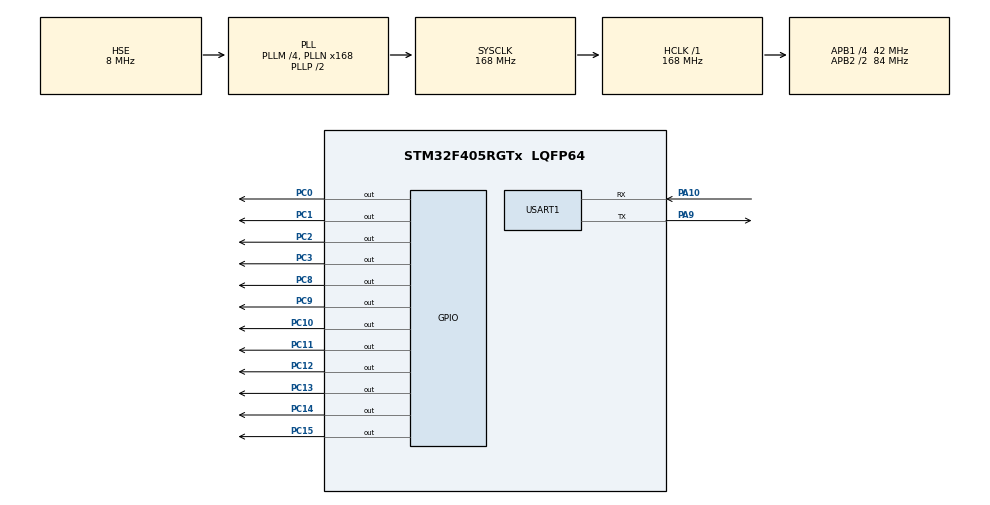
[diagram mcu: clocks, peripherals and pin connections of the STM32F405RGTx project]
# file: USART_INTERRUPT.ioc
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Mcu.Family=STM32F4
Mcu.Name=STM32F405RGTx
Mcu.Package=LQFP64
NVIC.PriorityGroup=NVIC_PRIORITYGROUP_4
NVIC.USART1_IRQn=true\:0\:0\:false\:false\:true\:true\:true
PA10.Mode=Asynchronous
PA10.Signal=USART1_RX
PA13.Mode=Serial_Wire
PA13.Signal=SYS_JTMS-SWDIO
PA14.Mode=Serial_Wire
PA14.Signal=SYS_JTCK-SWCLK
PA9.Mode=Asynchronous
PA9.Signal=USART1_TX
PC0.Signal=GPIO_Output
PC1.Signal=GPIO_Output
PC10.Signal=GPIO_Output
PC11.Signal=GPIO_Output
PC12.Signal=GPIO_Output
PC13-ANTI_TAMP.Signal=GPIO_Output
PC14-OSC32_IN.Signal=GPIO_Output
PC15-OSC32_OUT.Signal=GPIO_Output
PC2.Signal=GPIO_Output
PC3.Signal=GPIO_Output
PC8.Signal=GPIO_Output
PC9.Signal=GPIO_Output
PH0-OSC_IN.Mode=HSE-External-Oscillator
PH0-OSC_IN.Signal=RCC_OSC_IN
PH1-OSC_OUT.Mode=HSE-External-Oscillator
PH1-OSC_OUT.Signal=RCC_OSC_OUT
ProjectManager.HeapSize=0x200
ProjectManager.StackSize=0x400
ProjectManager.TargetToolchain=EWARM V8.32
RCC.48MHZClocksFreq_Value=84000000
RCC.AHBFreq_Value=168000000
RCC.APB1CLKDivider=RCC_HCLK_DIV4
RCC.APB1Freq_Value=42000000
RCC.APB1TimFreq_Value=84000000
RCC.APB2CLKDivider=RCC_HCLK_DIV2
RCC.APB2Freq_Value=84000000
RCC.APB2TimFreq_Value=168000000
RCC.CortexFreq_Value=168000000
RCC.HCLKFreq_Value=168000000
RCC.HSE_VALUE=8000000
RCC.HSI_VALUE=16000000
RCC.LSE_VALUE=32768
RCC.PLLM=4
RCC.PLLN=168
RCC.PLLSourceVirtual=RCC_PLLSOURCE_HSE
RCC.SYSCLKFreq_VALUE=168000000
RCC.SYSCLKSource=RCC_SYSCLKSOURCE_PLLCLK
RCC.VCOOutputFreq_Value=336000000
USART1.VirtualMode=VM_ASYNC
board=custom

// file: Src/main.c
/* USER CODE BEGIN Header */
/**
******************************************************************************
* @file           : main.c
* @brief          : Main program body
******************************************************************************
* @attention
*
* <h2><center>&copy; Copyright (c) 2020 STMicroelectronics.
* All rights reserved.</center></h2>
*
* This software component is licensed by ST under BSD 3-Clause license,
* the "License"; You may not use this file except in compliance with the
* License. You may obtain a copy of the License at:
*                        opensource.org/licenses/BSD-3-Clause
*
******************************************************************************
*/
/* USER CODE END Header */

#include "main.h"
#include "usart.h"
#include "gpio.h"

/* USER CODE BEGIN Includes */
#include "stdio.h"
/* USER CODE END Includes */

/* USER CODE BEGIN PV */
uint8_t newrxData=0;
uint8_t oldrxData=0;

/* USER CODE END PV */

void SystemClock_Config(void);
/* USER CODE BEGIN PFP */

void LED(uint16_t *led)
{
  printf("\tLED fun\n");
  for(int i=0;i<4;i++)
  {
    HAL_GPIO_WritePin(GPIOC,led[i],GPIO_PIN_SET);
  }
  HAL_Delay(500);
  for(int i=0;i<4;i++)
  {
    HAL_GPIO_WritePin(GPIOC,led[i],GPIO_PIN_RESET);
  }
  HAL_Delay(500);

}

void FND(uint16_t *FND_DATA_TBL)
{
  printf("\tFND fun\n");
  for(int i=0;i<10;i++)
  {
    if(newrxData=='2')
    {
      HAL_GPIO_WritePin(GPIOC,FND_DATA_TBL[i],GPIO_PIN_SET);
      HAL_Delay(500);
      HAL_GPIO_WritePin(GPIOC,FND_DATA_TBL[i],GPIO_PIN_RESET);
    }

  }

}

int fputc(int ch, FILE *stream)
{
  HAL_UART_Transmit(&huart1,(uint8_t*)&ch,1,10);
  return ch;
}
/* USER CODE END PFP */

int main(void)
{

  /* MCU Configuration--------------------------------------------------------*/

  /* Reset of all peripherals, Initializes the Flash interface and the Systick. */
  HAL_Init();

  /* Configure the system clock */
  SystemClock_Config();

  /* Initialize all configured peripherals */
  MX_GPIO_Init();
  MX_USART1_UART_Init();
  /* USER CODE BEGIN 2 */
  HAL_UART_Receive_IT(&huart1,&newrxData,1);
  /* USER CODE END 2 */

  /* Infinite loop */
  /* USER CODE BEGIN WHILE */
  uint16_t led[]={GPIO_PIN_0,GPIO_PIN_1,GPIO_PIN_2,GPIO_PIN_3};
  uint16_t FND_DATA_TBL[]={0x3F00,0x0600,0x5B00,0x4F00,0x6600,0x6D00,0x7C00,0x0700,0x7F00,0x6700,0x7700,0x7C00,0x3900,0x5E00,0x7900,0x7100,0x0800,0x8000};
  while (1)
  {

    printf("old : %c, new : %c \n",oldrxData,newrxData);

    if(newrxData=='1' & (oldrxData!=newrxData))
    {
      printf("\tLED fun\n");
      for(int i=0;i<4;i++)
      {
        HAL_GPIO_WritePin(GPIOC,led[i],GPIO_PIN_SET);
      }
      HAL_Delay(500);
      for(int i=0;i<4;i++)
      {
        HAL_GPIO_WritePin(GPIOC,led[i],GPIO_PIN_RESET);
      }
      HAL_Delay(500);
    }
    else if(newrxData=='2' & (oldrxData!=newrxData))
    {
      printf("\tFND fun\n");
      for(int i=0;i<10;i++)
      {
        if(newrxData=='2')
        {
          HAL_GPIO_WritePin(GPIOC,FND_DATA_TBL[i],GPIO_PIN_SET);
          HAL_Delay(500);
          HAL_GPIO_WritePin(GPIOC,FND_DATA_TBL[i],GPIO_PIN_RESET);
        }

      }
    }
    else if(newrxData=='3' && (oldrxData!=newrxData))
    {
      printf("OFF\n");
    }

    //HAL_Delay(1);

    /* USER CODE END WHILE */

  }
}

void SystemClock_Config(void)
{
  RCC_OscInitTypeDef RCC_OscInitStruct = {0};
  RCC_ClkInitTypeDef RCC_ClkInitStruct = {0};

  /** Configure the main internal regulator output voltage
  */
  __HAL_RCC_PWR_CLK_ENABLE();
  __HAL_PWR_VOLTAGESCALING_CONFIG(PWR_REGULATOR_VOLTAGE_SCALE1);
  /** Initializes the CPU, AHB and APB busses clocks
  */
  RCC_OscInitStruct.OscillatorType = RCC_OSCILLATORTYPE_HSE;
  RCC_OscInitStruct.HSEState = RCC_HSE_ON;
  RCC_OscInitStruct.PLL.PLLState = RCC_PLL_ON;
  RCC_OscInitStruct.PLL.PLLSource = RCC_PLLSOURCE_HSE;
  RCC_OscInitStruct.PLL.PLLM = 4;
  RCC_OscInitStruct.PLL.PLLN = 168;
  RCC_OscInitStruct.PLL.PLLP = RCC_PLLP_DIV2;
  RCC_OscInitStruct.PLL.PLLQ = 4;
  if (HAL_RCC_OscConfig(&RCC_OscInitStruct) != HAL_OK)
  {
    Error_Handler();
  }
  /** Initializes the CPU, AHB and APB busses clocks
  */
  RCC_ClkInitStruct.ClockType = RCC_CLOCKTYPE_HCLK|RCC_CLOCKTYPE_SYSCLK
    |RCC_CLOCKTYPE_PCLK1|RCC_CLOCKTYPE_PCLK2;
  RCC_ClkInitStruct.SYSCLKSource = RCC_SYSCLKSOURCE_PLLCLK;
  RCC_ClkInitStruct.AHBCLKDivider = RCC_SYSCLK_DIV1;
  RCC_ClkInitStruct.APB1CLKDivider = RCC_HCLK_DIV4;
  RCC_ClkInitStruct.APB2CLKDivider = RCC_HCLK_DIV2;

  if (HAL_RCC_ClockConfig(&RCC_ClkInitStruct, FLASH_LATENCY_5) != HAL_OK)
  {
    Error_Handler();
  }
}

/* USER CODE BEGIN 4 */

void HAL_UART_RxCpltCallback(UART_HandleTypeDef *huart) // 인터럽트
{
  if(huart->Instance == USART1)
  {
    oldrxData=newrxData;
    HAL_UART_Receive_IT(&huart1,&newrxData,1);
    HAL_UART_Transmit(&huart1,&newrxData,1,10);
  }
}

/* USER CODE END 4 */

void Error_Handler(void)
{
}

/************************ (C) COPYRIGHT STMicroelectronics *****END OF FILE****/
